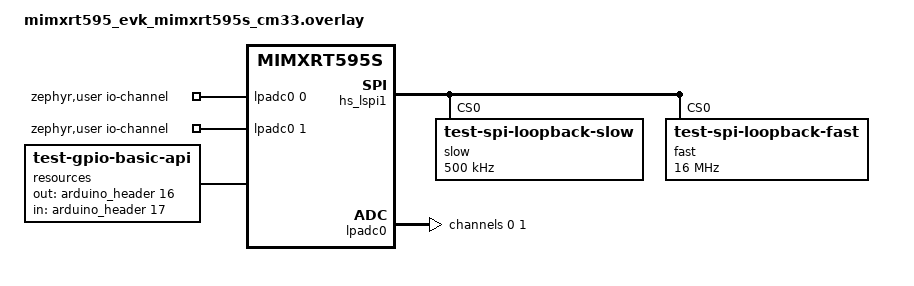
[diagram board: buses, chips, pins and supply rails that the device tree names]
/*
 * Copyright (c) 2025 Tenstorrent AI ULC
 *
 * SPDX-License-Identifier: Apache-2.0
 */

tst_dma0: &dma0 {};

&hs_lspi1 {
	slow@0 {
		compatible = "test-spi-loopback-slow";
		reg = <0>;
		spi-max-frequency = <500000>;
	};
	fast@0 {
		compatible = "test-spi-loopback-fast";
		reg = <0>;
		spi-max-frequency = <16000000>;
	};
};

#include <zephyr/dt-bindings/adc/mcux-lpadc.h>

/ {
	zephyr,user {
		io-channels = <&lpadc0 0>, <&lpadc0 1>;
	};
};

&lpadc0 {
	#address-cells = <1>;
	#size-cells = <0>;
	channel@0 {
		reg = <0>;
		zephyr,gain = "ADC_GAIN_1";
		zephyr,reference = "ADC_REF_EXTERNAL0";
		zephyr,acquisition-time = <ADC_ACQ_TIME_DEFAULT>;
		zephyr,resolution = <12>;
		zephyr,input-positive = <MCUX_LPADC_CH0A>;
	};
	channel@1 {
		reg = <1>;
		zephyr,gain = "ADC_GAIN_1";
		zephyr,reference = "ADC_REF_EXTERNAL0";
		zephyr,acquisition-time = <ADC_ACQ_TIME_DEFAULT>;
		zephyr,resolution = <12>;
		zephyr,input-positive = <MCUX_LPADC_CH1A>;
	};
};

/ {
	resources {
		compatible = "test-gpio-basic-api";
		status = "okay";
		out-gpios = <&arduino_header 16 (GPIO_ACTIVE_HIGH | GPIO_PUSH_PULL | GPIO_PULL_UP)>;
		in-gpios = <&arduino_header 17 (GPIO_ACTIVE_HIGH | GPIO_PUSH_PULL | GPIO_PULL_UP)>;
	};
};
